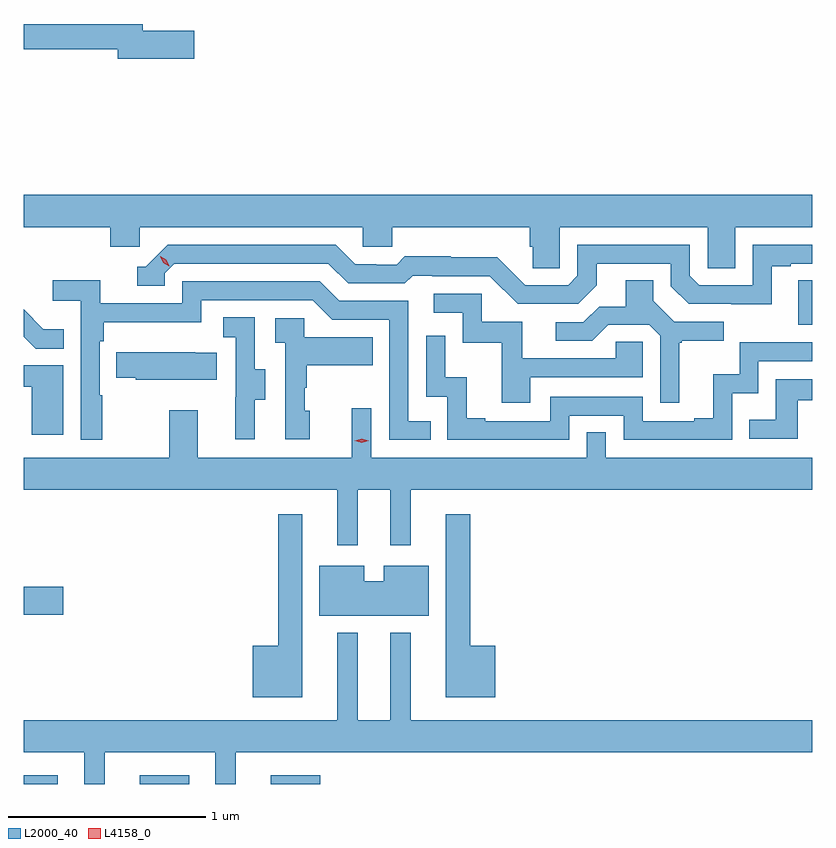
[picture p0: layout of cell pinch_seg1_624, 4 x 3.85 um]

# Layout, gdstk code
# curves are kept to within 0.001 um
import gdstk
lib = gdstk.Library(unit=1e-6, precision=1e-09)
def R(c, l, rs):  # rectangles x0, y0, x1, y1
    for r in rs: c.add(gdstk.rectangle(r[:2], r[2:], *l))
def P(c, l, *ps):  # polygons
    for p in ps: c.add(gdstk.Polygon(p, *l))
L2000_40 = (2000, 40)
L4158_0 = (4158, 0)

pinch_seg1_624 = lib.new_cell('pinch_seg1_624')
R(pinch_seg1_624, L2000_40, [(1090.385,508.948,1090.558,508.993), (1090.973,508.948,1091.224,508.993), (1091.639,508.948,1091.89,508.993), (1090.385,509.807,1090.585,509.949), (1094.315,511.278,1094.385,511.502)])
P(pinch_seg1_624, L2000_40, [(1091.251,512.769),(1090.99,512.769),(1090.99,512.803),(1090.385,512.803),(1090.385,512.674),(1090.862,512.674),(1090.862,512.627),(1091.251,512.627)],
  [(1093.104,511.772),(1093.854,511.772),(1093.854,511.564),(1093.993,511.564),(1093.993,511.772),(1094.385,511.772),(1094.385,511.936),(1090.385,511.936),(1090.385,511.772),(1090.823,511.772),(1090.823,511.674),(1090.974,511.674),(1090.974,511.772),(1092.105,511.772),(1092.105,511.674),(1092.255,511.674),(1092.255,511.772),(1092.953,511.772),(1092.953,511.674),(1092.967,511.674),(1092.967,511.564),(1093.104,511.564)],
  [(1094.179,511.575),(1094.275,511.575),(1094.275,511.587),(1094.385,511.587),(1094.385,511.683),(1094.082,511.683),(1094.082,511.479),(1093.812,511.479),(1093.764,511.527),(1093.764,511.683),(1093.194,511.683),(1093.194,511.527),(1093.146,511.479),(1092.93,511.479),(1092.788,511.621),(1092.552,511.621),(1092.552,511.624),(1092.319,511.624),(1092.277,511.581),(1092.174,511.581),(1092.174,511.584),(1092.067,511.584),(1091.968,511.683),(1091.115,511.683),(1091.004,511.572),(1090.961,511.572),(1090.961,511.476),(1091.1,511.476),(1091.1,511.539),(1091.148,511.587),(1091.931,511.587),(1092.03,511.488),(1092.319,511.488),(1092.358,511.527),(1092.457,511.527),(1092.457,511.524),(1092.75,511.524),(1092.891,511.383),(1093.197,511.383),(1093.291,511.477),(1093.291,511.587),(1093.668,511.587),(1093.668,511.473),(1093.758,511.383),(1094.179,511.382)],
  [(1090.783,510.92),(1090.77,510.92),(1090.77,511.193),(1090.79,511.193),(1090.79,511.289),(1091.286,511.289),(1091.286,511.401),(1091.85,511.401),(1091.949,511.302),(1092.24,511.302),(1092.24,510.693),(1092.449,510.693),(1092.449,510.789),(1092.336,510.789),(1092.336,511.398),(1091.986,511.398),(1091.887,511.497),(1091.19,511.497),(1091.19,511.386),(1090.772,511.386),(1090.772,511.502),(1090.533,511.502),(1090.533,511.4),(1090.674,511.4),(1090.674,510.693),(1090.783,510.693)],
  [(1093.711,511.185),(1093.723,511.185),(1093.723,511.196),(1093.936,511.196),(1093.936,511.293),(1093.686,511.293),(1093.579,511.4),(1093.579,511.502),(1093.439,511.502),(1093.439,511.37),(1093.304,511.37),(1093.224,511.29),(1093.083,511.29),(1093.083,511.197),(1093.27,511.197),(1093.351,511.278),(1093.557,511.278),(1093.614,511.221),(1093.614,510.882),(1093.711,510.882)],
  [(1092.955,511.011),(1093.524,511.011),(1093.524,511.191),(1093.387,511.191),(1093.387,511.107),(1092.913,511.107),(1092.913,511.293),(1092.708,511.293),(1092.708,511.434),(1092.465,511.434),(1092.465,511.338),(1092.612,511.338),(1092.612,511.185),(1092.811,511.185),(1092.811,510.882),(1092.955,510.882)],
  [(1090.589,511.255),(1090.485,511.255),(1090.385,511.355),(1090.385,511.216),(1090.445,511.156),(1090.589,511.156)],
  [(1091.557,510.898),(1091.611,510.898),(1091.611,511.053),(1091.556,511.053),(1091.556,511.316),(1091.397,511.316),(1091.397,511.213),(1091.46,511.213),(1091.46,510.909),(1091.459,510.909),(1091.459,510.696),(1091.557,510.696)],
  [(1091.836,510.84),(1091.811,510.84),(1091.811,510.959),(1091.821,510.959),(1091.821,511.073),(1092.155,511.073),(1092.155,511.213),(1091.808,511.213),(1091.808,511.311),(1091.661,511.311),(1091.661,511.187),(1091.712,511.187),(1091.712,510.696),(1091.836,510.696)],
  [(1093.152,510.816),(1093.428,510.816),(1093.428,510.693),(1093.98,510.693),(1093.98,510.929),(1094.112,510.929),(1094.112,511.092),(1094.385,511.092),(1094.385,511.188),(1094.016,511.188),(1094.016,511.027),(1093.883,511.027),(1093.883,510.802),(1093.787,510.802),(1093.787,510.789),(1093.524,510.789),(1093.524,510.912),(1093.056,510.912),(1093.056,510.789),(1092.727,510.789),(1092.727,510.802),(1092.632,510.802),(1092.632,511.01),(1092.522,511.01),(1092.522,511.222),(1092.426,511.222),(1092.426,510.912),(1092.534,510.912),(1092.534,510.693),(1093.152,510.693)],
  [(1091.363,511.135),(1091.255,511.135),(1091.255,511.138),(1090.855,511.138),(1090.855,511.009),(1090.953,511.009),(1090.953,510.998),(1091.363,510.998)],
  [(1090.585,511.071),(1090.385,511.071),(1090.385,510.963),(1090.427,510.963),(1090.427,510.72),(1090.585,510.72)],
  [(1094.311,510.894),(1094.385,510.894),(1094.385,511.002),(1094.2,511.002),(1094.2,510.796),(1094.065,510.796),(1094.065,510.699),(1094.311,510.699)],
  [(1092.079,510.44),(1092.245,510.44),(1092.245,510.159),(1092.349,510.159),(1092.349,510.44),(1094.385,510.44),(1094.385,510.604),(1093.338,510.604),(1093.338,510.731),(1093.242,510.731),(1093.242,510.604),(1092.147,510.604),(1092.147,510.853),(1092.05,510.853),(1092.05,510.604),(1091.269,510.604),(1091.269,510.844),(1091.122,510.844),(1091.122,510.604),(1090.385,510.604),(1090.385,510.44),(1091.975,510.44),(1091.975,510.159),(1092.079,510.159)],
  [(1092.778,509.65),(1092.649,509.65),(1092.649,510.316),(1092.527,510.316),(1092.527,509.387),(1092.778,509.387)],
  [(1091.797,510.316),(1091.676,510.316),(1091.676,509.65),(1091.546,509.65),(1091.546,509.387),(1091.797,509.387)],
  [(1092.439,510.055),(1092.212,510.055),(1092.212,509.977),(1092.112,509.977),(1092.112,510.055),(1091.885,510.055),(1091.885,509.801),(1092.439,509.801)],
  [(1090.795,509.108),(1091.357,509.108),(1091.357,508.948),(1091.461,508.948),(1091.461,509.108),(1094.385,509.108),(1094.385,509.272),(1092.349,509.272),(1092.349,509.716),(1092.245,509.716),(1092.245,509.272),(1092.079,509.272),(1092.079,509.716),(1091.975,509.716),(1091.975,509.272),(1090.385,509.272),(1090.385,509.108),(1090.691,509.108),(1090.691,508.948),(1090.795,508.948)])
P(pinch_seg1_624, L4158_0, [(1092.1,510.679),(1092.064,510.689),(1092.064,510.689),(1092.064,510.689),(1092.1,510.699),(1092.136,510.689),(1092.136,510.689),(1092.136,510.689)],
  [(1091.123,511.573),(1091.093,511.593),(1091.078,511.625),(1091.078,511.626),(1091.078,511.626),(1091.108,511.606),(1091.124,511.573),(1091.124,511.573)])

lib.write_gds('pinch_seg1_624.gds')
